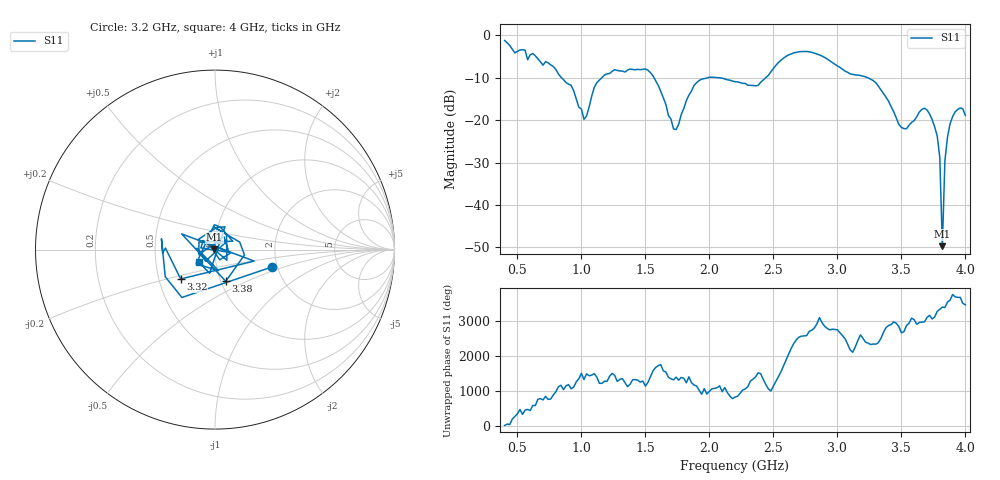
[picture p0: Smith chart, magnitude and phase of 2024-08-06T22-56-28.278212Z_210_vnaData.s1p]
!Created with skrf (http://scikit-rf.org).
# Hz S RI R 50.0
!freq ReS11 ImS11
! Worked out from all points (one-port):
!   181 points, 400 MHz to 4 GHz, reference 50 ohm
!   lowest |S11| = -49.7 dB at 3.82 GHz (marker M1), VSWR 1.01, Z = 49.7 + j0.146 ohm
!   |S11| at or under -10 dB: 1.567 GHz to 1.987 GHz (420 MHz wide, 23.6 % of centre); 2.081 GHz to 2.441 GHz (360.1 MHz wide, 15.9 % of centre); 3.239 GHz to end of sweep (the widest 3 of 4)
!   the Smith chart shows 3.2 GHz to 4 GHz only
!   S11 on the Smith chart (normalised r, x): 3.2 GHz: 1.86, -0.41; 3.32 GHz: 0.65, -0.23; 3.38 GHz: 1.06, -0.39; 4 GHz: 0.83, -0.11
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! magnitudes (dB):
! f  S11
! 400 MHz  -1.2
! 860 MHz  -10.4
! 920 MHz  -11.8
! 1.02 GHz  -19.8
! 1.12 GHz  -11.2
! 1.3 GHz  -8.4
! 1.52 GHz  -8.2
! 1.6 GHz  -11.8
! 1.72 GHz  -22.1
! 1.76 GHz  -21.0
! 1.92 GHz  -10.6
! 2.2 GHz  -10.9
! 2.38 GHz  -11.8
! 2.66 GHz  -4.1
! 3.1 GHz  -9.1
! 3.2 GHz  -9.6
! 3.32 GHz  -12.0
! 3.38 GHz  -14.6
! 3.48 GHz  -21.0
! 3.56 GHz  -21.2
! 3.68 GHz  -17.2
! 3.78 GHz  -23.8
! 3.8 GHz  -28.8
! 3.82 GHz  -49.7
! 3.84 GHz  -29.5
! 3.86 GHz  -24.1
! 3.92 GHz  -18.0
! 4 GHz  -18.9
